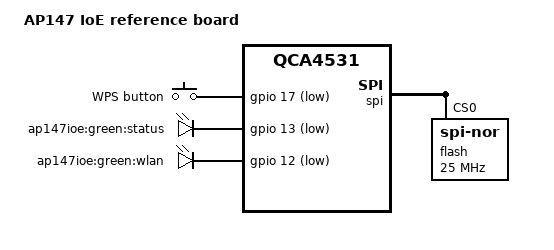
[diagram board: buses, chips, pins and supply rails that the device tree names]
// SPDX-License-Identifier: ISC
// Copyright (c) 2022, Qualcomm Innovation Center, Inc. All rights reserved.

/dts-v1/;

#include <dt-bindings/gpio/gpio.h>
#include <dt-bindings/input/input.h>
#include <dt-bindings/clock/ath79-clk.h>

#include "qca4531.dtsi"

/ {
	compatible = "qca,ap147ioe_16M", "qca,ath79";
	model = "AP147 IoE reference board";

	gpio-keys-polled {
		compatible = "gpio-keys-polled";
		#address-cells = <1>;
		#size-cells = <0>;

		poll-interval = <20>;

		button@0 {
			label = "WPS button";
			linux,code = <KEY_WPS_BUTTON>;
			gpios = <&gpio 17 GPIO_ACTIVE_LOW>;
			debounce-interval = <60>;
		};
	};

	leds {
		compatible = "gpio-leds";
		led@0 {
			label = "ap147ioe:green:status";
			gpios = <&gpio 13 GPIO_ACTIVE_LOW>;
		};

		led@1 {
			label = "ap147ioe:green:wlan";
			gpios = <&gpio 12 GPIO_ACTIVE_LOW>;
		};

	};
};

&spi {
	status = "okay";

	flash@0 {
		#address-cells = <1>;
		#size-cells = <1>;
		compatible = "jedec,spi-nor";
		reg = <0>;
		spi-max-frequency = <25000000>;
		cs-gpios = <&gpio 0 GPIO_ACTIVE_LOW>;
	};
};

